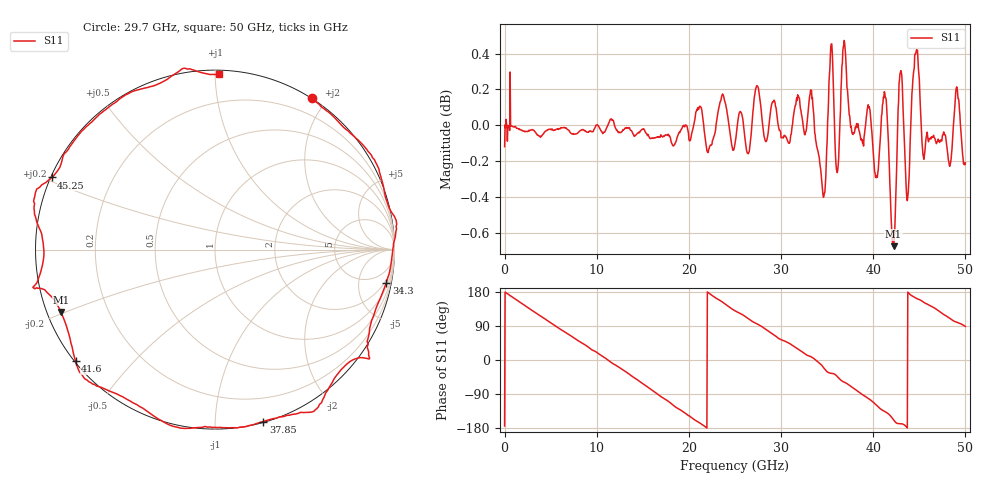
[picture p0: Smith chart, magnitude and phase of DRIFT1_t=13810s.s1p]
!Created with skrf (http://scikit-rf.org).
# Hz S RI R 50.0
!freq ReS11 ImS11
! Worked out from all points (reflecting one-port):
!   1001 points, 300 kHz to 50 GHz, reference 50 ohm
!   lowest |S11| = -0.7 dB at 42.2 GHz (marker M1), VSWR 25.88, Z = 2.01 - j9.75 ohm
!   phase of S11 starts at -174 deg and turns -817 deg over the sweep
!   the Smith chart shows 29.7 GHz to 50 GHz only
!   S11 on the Smith chart (normalised r, x): 29.7 GHz: 0.00, +1.82; 34.3 GHz: 1, -10; 37.85 GHz: 0.01, -1.32; 41.6 GHz: 0.00, -0.35; 45.25 GHz: 0.00, +0.21; 50 GHz: 0.02, +1.03
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300000  -0.9815 -0.0991
1.500291e9  -0.9058 0.4186
3.25028e9  -0.5914 0.8017
6.250262e9  0.2026 0.9778
9.500243e9  0.8924 0.4422
1.250022e10  0.9319 -0.3502
1.580021e10  0.2362 -0.9631
1.74002e10  -0.2245 -0.9679
1.875019e10  -0.5994 -0.7914
2.150017e10  -0.9938 -0.1499
2.345016e10  -0.9269 0.4154
2.500015e10  -0.6331 0.7593
2.740014e10  -0.0936 1.022
2.970012e10  0.538 0.8427
3.125011e10  0.7865 0.619
3.31501e10  1.006 0.17
3.430009e10  0.9543 -0.1862
3.520009e10  0.8561 -0.57
3.750008e10  0.3707 -0.9318
3.785007e10  0.2697 -0.9581
3.955006e10  -0.2223 -0.9874
4.160005e10  -0.7766 -0.6228
4.220005e10  -0.8576 -0.3481
4.290004e10  -1.012 -0.2107
4.375004e10  -0.9555 0.0143
4.525003e10  -0.9101 0.4018
4.775001e10  -0.4769 0.8724
5e10  0.0249 0.976
